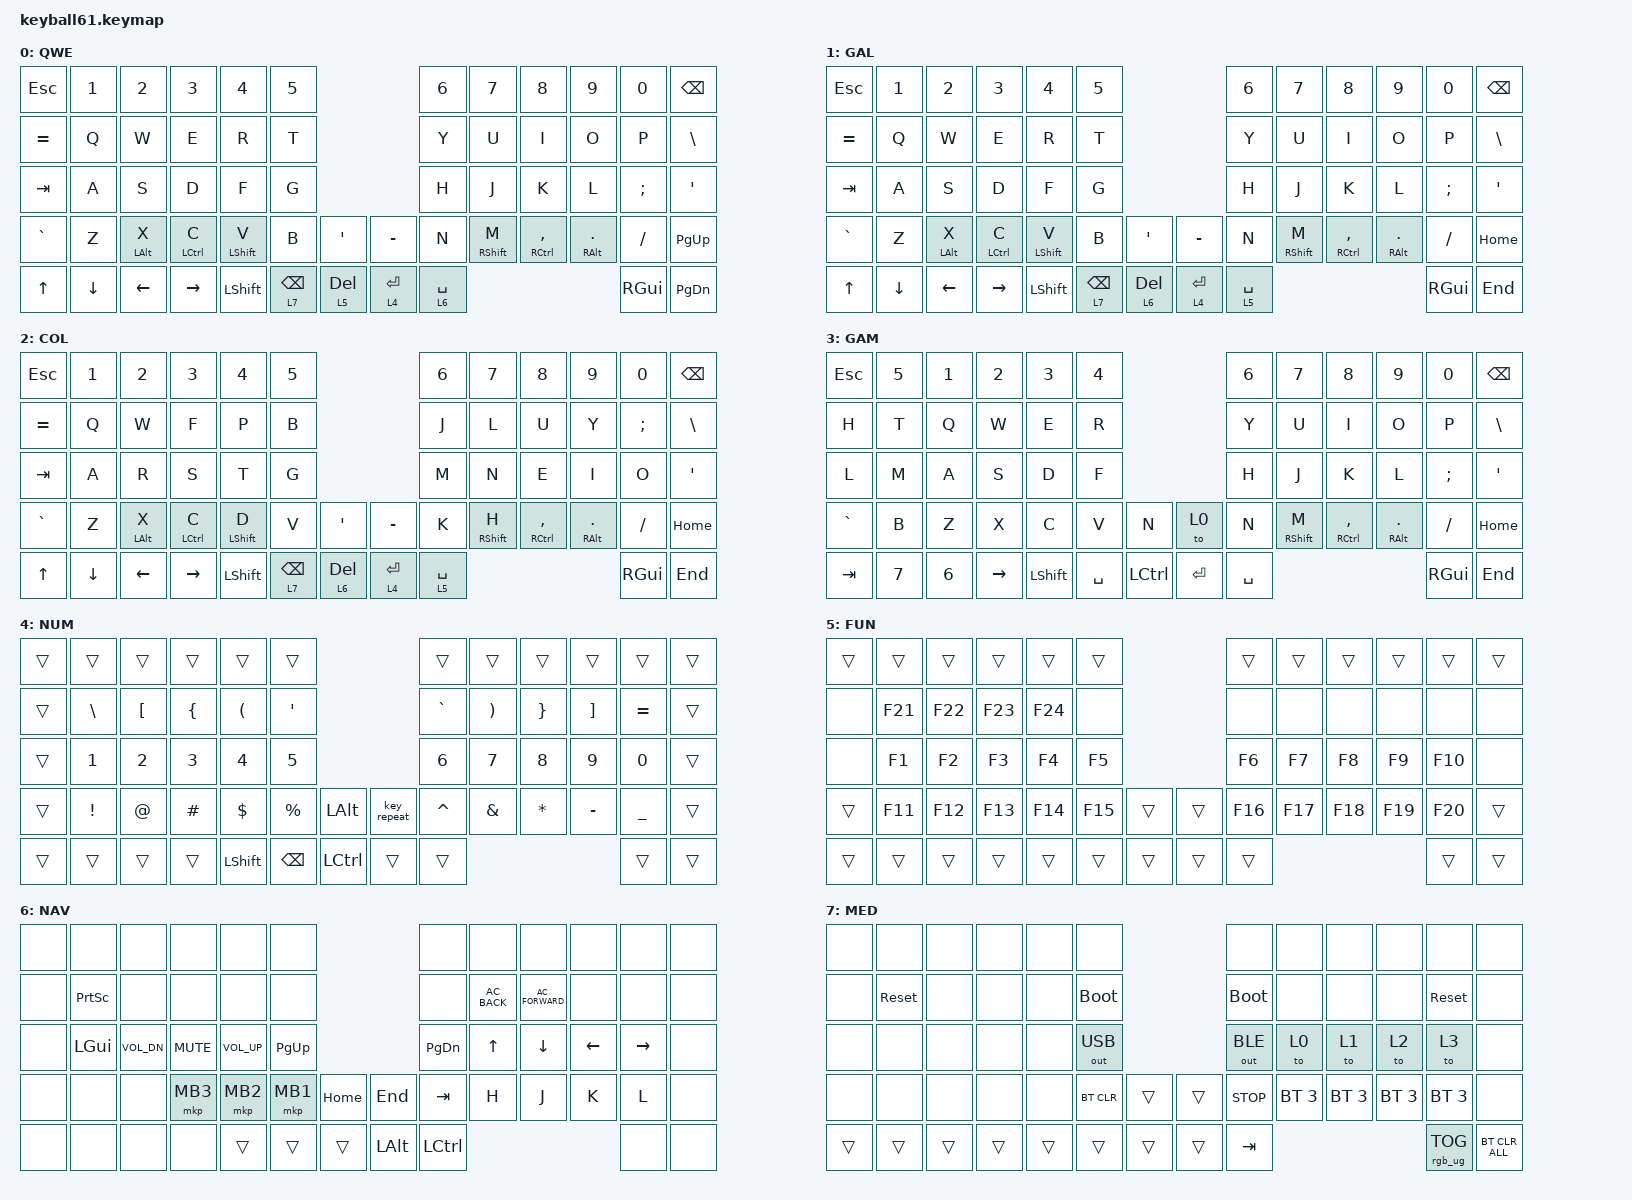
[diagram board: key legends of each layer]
#define QWE     0
#define GAL     1
#define COL     2
#define GAM     3
#define NUM     4
#define FUN     5
#define NAV     6
#define MED     7
#define ZMK_POINTING_DEFAULT_MOVE_VAL 2500  // 600
#define ZMK_POINTING_DEFAULT_SCRL_VAL 20    // 10

#include <behaviors/mouse_keys.dtsi>
#include <dt-bindings/zmk/mouse.h>
#include <behaviors.dtsi>
#include <dt-bindings/zmk/bt.h>
#include <dt-bindings/zmk/keys.h>
#include <dt-bindings/zmk/outputs.h>
#include <dt-bindings/zmk/pointing.h>
#include <dt-bindings/zmk/rgb.h>

&sk {
    // don't release mods on other mods presses

    ignore-modifiers;
};

/ {
    behaviors {
        ht: hold_tap {
            label = "hold_tap";
            compatible = "zmk,behavior-hold-tap";
            #binding-cells = <2>;
            flavor = "tap-preferred";
            tapping-term-ms = <220>;
            quick-tap-ms = <150>;
            global-quick-tap;
            bindings = <&kp>, <&kp>;
        };

        mmv {
            acceleration-exponent = <1>;      // 1
            time-to-max-speed-ms = <300>;    // 40
            delay-ms = <0>;                   // 0
        };

        msc {
            acceleration-exponent = <0>;      // 0
            time-to-max-speed-ms = <40>;      // 500
            delay-ms = <0>;                   // 10
        };
    };

    combos { compatible = "zmk,combos"; };

    keymap {
        compatible = "zmk,keymap";

        Qwerty_Layer {
            bindings = <
&kp ESC    &kp N1    &kp N2      &kp N3       &kp N4       &kp N5                            &kp N6       &kp N7       &kp N8           &kp N9        &kp N0    &kp BSPC
&kp EQUAL  &kp Q     &kp W       &kp E        &kp R        &kp T                             &kp Y        &kp U        &kp I            &kp O         &kp P     &kp BACKSLASH
&kp TAB    &kp A     &kp S       &kp D        &kp F        &kp G                             &kp H        &kp J        &kp K            &kp L         &kp SEMI  &kp SQT
&kp GRAVE  &kp Z     &ht LALT X  &ht LCTRL C  &ht LSHFT V  &kp B       &kp SQT    &kp MINUS  &kp N        &ht RSHFT M  &ht RCTRL COMMA  &ht RALT DOT  &kp FSLH  &kp PG_UP
&kp UP     &kp DOWN  &kp LEFT    &kp RIGHT    &kp LSHFT    &lt 7 BSPC  &lt 5 DEL  &lt 4 RET  &lt 6 SPACE                                              &kp RGUI  &kp PG_DN
            >;

            label = "QWE";
        };

        GalMod_Layer {
            bindings = <
&kp ESC    &kp N1    &kp N2      &kp N3       &kp N4       &kp N5                            &kp N6       &kp N7       &kp N8           &kp N9        &kp N0    &kp BSPC
&kp EQUAL  &kp Q     &kp W       &kp E        &kp R        &kp T                             &kp Y        &kp U        &kp I            &kp O         &kp P     &kp BACKSLASH
&kp TAB    &kp A     &kp S       &kp D        &kp F        &kp G                             &kp H        &kp J        &kp K            &kp L         &kp SEMI  &kp SQT
&kp GRAVE  &kp Z     &ht LALT X  &ht LCTRL C  &ht LSHFT V  &kp B       &kp SQT    &kp MINUS  &kp N        &ht RSHFT M  &ht RCTRL COMMA  &ht RALT DOT  &kp FSLH  &kp HOME
&kp UP     &kp DOWN  &kp LEFT    &kp RIGHT    &kp LSHFT    &lt 7 BSPC  &lt 6 DEL  &lt 4 RET  &lt 5 SPACE                                              &kp RGUI  &kp END
            >;

            label = "GAL";
        };

        Colemak_Layer {
            bindings = <
&kp ESC    &kp N1    &kp N2      &kp N3       &kp N4       &kp N5                            &kp N6       &kp N7       &kp N8           &kp N9        &kp N0    &kp BSPC
&kp EQUAL  &kp Q     &kp W       &kp F        &kp P        &kp B                             &kp J        &kp L        &kp U            &kp Y         &kp SEMI  &kp BACKSLASH
&kp TAB    &kp A     &kp R       &kp S        &kp T        &kp G                             &kp M        &kp N        &kp E            &kp I         &kp O     &kp SQT
&kp GRAVE  &kp Z     &ht LALT X  &ht LCTRL C  &ht LSHFT D  &kp V       &kp SQT    &kp MINUS  &kp K        &ht RSHFT H  &ht RCTRL COMMA  &ht RALT DOT  &kp FSLH  &kp HOME
&kp UP     &kp DOWN  &kp LEFT    &kp RIGHT    &kp LSHFT    &lt 7 BSPC  &lt 6 DEL  &lt 4 RET  &lt 5 SPACE                                              &kp RGUI  &kp END
            >;

            label = "COL";
        };

        Gaming_Layer {
            bindings = <
&kp ESC    &kp N5  &kp N1  &kp N2     &kp N3     &kp N4                         &kp N6     &kp N7       &kp N8           &kp N9        &kp N0    &kp BSPC
&kp H      &kp T   &kp Q   &kp W      &kp E      &kp R                          &kp Y      &kp U        &kp I            &kp O         &kp P     &kp BACKSLASH
&kp L      &kp M   &kp A   &kp S      &kp D      &kp F                          &kp H      &kp J        &kp K            &kp L         &kp SEMI  &kp SQT
&kp GRAVE  &kp B   &kp Z   &kp X      &kp C      &kp V      &kp N      &to 0    &kp N      &ht RSHFT M  &ht RCTRL COMMA  &ht RALT DOT  &kp FSLH  &kp HOME
&kp TAB    &kp N7  &kp N6  &kp RIGHT  &kp LSHFT  &kp SPACE  &kp LCTRL  &kp RET  &kp SPACE                                              &kp RGUI  &kp END
            >;

            label = "GAM";
        };

        number_layer {
            bindings = <
&trans  &trans    &trans    &trans    &trans     &trans                                 &trans     &trans         &trans        &trans     &trans     &trans
&trans  &kp BSLH  &kp LBKT  &kp LBRC  &kp LPAR   &kp SQT                                &kp GRAVE  &kp RPAR       &kp RBRC      &kp RBKT   &kp EQUAL  &trans
&trans  &kp N1    &kp N2    &kp N3    &kp N4     &kp N5                                 &kp N6     &kp N7         &kp N8        &kp N9     &kp N0     &trans
&trans  &kp EXCL  &kp AT    &kp HASH  &kp DLLR   &kp PRCNT      &kp LALT   &key_repeat  &kp CARET  &kp AMPERSAND  &kp ASTERISK  &kp MINUS  &kp UNDER  &trans
&trans  &trans    &trans    &trans    &kp LSHFT  &kp BACKSPACE  &kp LCTRL  &trans       &trans                                             &trans     &trans
            >;

            label = "NUM";
        };

        function_layer {
            label = "FUN";
            bindings = <
&trans  &trans   &trans   &trans   &trans   &trans                   &trans   &trans   &trans   &trans   &trans   &trans
&none   &kp F21  &kp F22  &kp F23  &kp F24  &none                    &none    &none    &none    &none    &none    &none
&none   &kp F1   &kp F2   &kp F3   &kp F4   &kp F5                   &kp F6   &kp F7   &kp F8   &kp F9   &kp F10  &none
&trans  &kp F11  &kp F12  &kp F13  &kp F14  &kp F15  &trans  &trans  &kp F16  &kp F17  &kp F18  &kp F19  &kp F20  &trans
&trans  &trans   &trans   &trans   &trans   &trans   &trans  &trans  &trans                              &trans   &trans
            >;
        };

        nav_layer {
            label = "NAV";
            bindings = <
&none  &none      &none         &none       &none         &none                          &none      &none          &none             &none     &none      &none
&none  &kp PSCRN  &none         &none       &none         &none                          &none      &kp C_AC_BACK  &kp C_AC_FORWARD  &none     &none      &none
&none  &kp LGUI   &kp C_VOL_DN  &kp C_MUTE  &kp C_VOL_UP  &kp PG_UP                      &kp PG_DN  &kp UP         &kp DOWN          &kp LEFT  &kp RIGHT  &none
&none  &none      &none         &mkp MB3    &mkp MB2      &mkp MB1   &kp HOME  &kp END   &kp TAB    &kp H          &kp J             &kp K     &kp L      &none
&none  &none      &none         &none       &trans        &trans     &trans    &kp LALT  &kp LCTRL                                             &none      &none
            >;
        };

        med_layer {
            label = "MED";
            bindings = <
&none   &none       &none   &none   &none   &none                         &none         &none         &none         &none         &none            &none
&none   &sys_reset  &none   &none   &none   &bootloader                   &bootloader   &none         &none         &none         &sys_reset       &none
&none   &none       &none   &none   &none   &out OUT_USB                  &out OUT_BLE  &to 0         &to 1         &to 2         &to 3            &none
&none   &none       &none   &none   &none   &bt BT_CLR    &trans  &trans  &kp C_STOP    &bt BT_SEL 3  &bt BT_SEL 3  &bt BT_SEL 3  &bt BT_SEL 3     &none
&trans  &trans      &trans  &trans  &trans  &trans        &trans  &trans  &kp TAB                                                 &rgb_ug RGB_TOG  &bt BT_CLR_ALL
            >;
        };
    };
};
